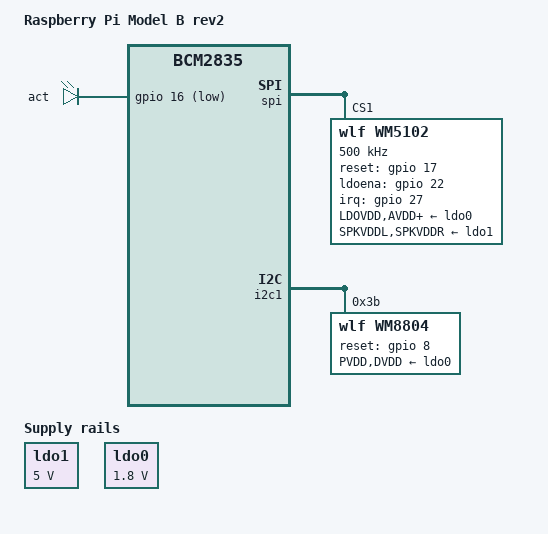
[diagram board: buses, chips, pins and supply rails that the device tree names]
/dts-v1/;
#include "bcm2835-rpi.dtsi"

/ {
	compatible = "raspberrypi,model-b-rev2", "brcm,bcm2835";
	model = "Raspberry Pi Model B rev2";

	leds {
		act {
			gpios = <&gpio 16 1>;
		};
	};

	soc {
		ldo1: ldo1 {
			compatible = "regulator-fixed";
			regulator-name = "DC_5V";
			regulator-min-microvolt = <5000000>;
			regulator-max-microvolt = <5000000>;
			enable-active-high;
			regulator-always-on;
		};

		ldo0: ldo0 {
			compatible = "regulator-fixed";
			regulator-name = "DC_1V8";
			regulator-min-microvolt = <1800000>;
			regulator-max-microvolt = <1800000>;
			enable-active-high;
			regulator-always-on;
		};
	};

	sound {
		compatible = "wlf,rpi-wm5102";
		i2s-controller = <&i2s>;
	};

	aliases {
		ldo0 = &ldo0;
		ldo1 = &ldo1;
	};
};

&gpio {
	pinctrl-0 = <&gpioout &alt0 &i2s_alt2 &alt3>;

	/* I2S interface */
	i2s_alt2: i2s_alt2 {
		brcm,pins = <28 29 30 31>;
		brcm,function = <BCM2835_FSEL_ALT2>;
	};

	wlf_pins: wlf_pins {
		brcm,pins = <17 22 27 8>;
		brcm,function = <1 1 0 1>;
	};
};

&spi {
	status = "okay";

	spidev@0{
		status = "disabled";
	};

	spidev@1{
		status = "disabled";
	};

	wm5102@1{
		compatible = "wlf,wm5102";
		reg = <1>;
		#address-cells = <1>;
		#size-cells = <0>;
		spi-max-frequency = <500000>;

		interrupt-parent = <&gpio>;
		interrupts = <27 8>;

		LDOVDD-supply = <&ldo0>;
		AVDD-supply = <&ldo0>;
		DBVDD1-supply = <&ldo0>;
		DBVDD2-supply = <&ldo0>;
		DBVDD3-supply = <&ldo0>;
		CPVDD-supply = <&ldo0>;
		SPKVDDL-supply = <&ldo1>;
		SPKVDDR-supply = <&ldo1>;

		wlf,reset = <&gpio 17 0>;
		wlf,ldoena = <&gpio 22 0>;
		wlf,gpio-defaults = <
			0x000fffff
			0x000fffff
			0x000fffff
			0x000fffff
			0x000fffff
		>;
		wlf,micd-configs = <0 1 0>;
		wlf,dmic-ref = <0 2 0 0>;
		wlf,clk32k-src = <3>;
		wlf,inmode = <0 2 1 0>;
		status = "okay";
	};
};

&i2c1 {
	status = "okay";

	wm8804@3b {
		#sound-dai-cells = <0>;
		compatible = "wlf,wm8804";
		reg = <0x3b>;
		status = "okay";
		PVDD-supply = <&ldo0>;
		DVDD-supply = <&ldo0>;
		wlf,reset-gpio = <&gpio 8 0>;
	};
};
